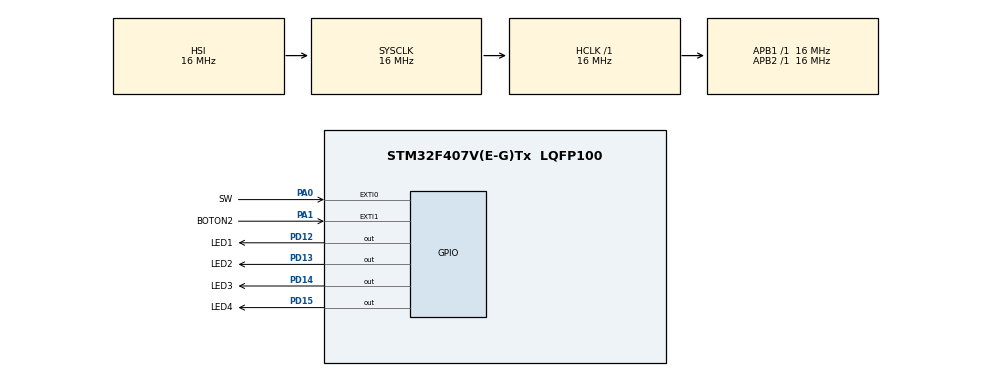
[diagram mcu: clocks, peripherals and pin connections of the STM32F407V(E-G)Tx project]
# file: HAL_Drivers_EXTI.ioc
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Mcu.Family=STM32F4
Mcu.Name=STM32F407V(E-G)Tx
Mcu.Package=LQFP100
NVIC.EXTI0_IRQn=true\:1\:0\:true\:false\:true\:true\:true\:true
NVIC.EXTI1_IRQn=true\:4\:0\:true\:false\:true\:true\:true\:true
NVIC.PriorityGroup=NVIC_PRIORITYGROUP_4
PA0-WKUP.GPIO_Label=SW
PA0-WKUP.Signal=GPXTI0
PA1.GPIO_Label=BOTON2
PA1.Signal=GPXTI1
PD12.GPIO_Label=LED1
PD12.Signal=GPIO_Output
PD13.GPIO_Label=LED2
PD13.Signal=GPIO_Output
PD14.GPIO_Label=LED3
PD14.Signal=GPIO_Output
PD15.GPIO_Label=LED4
PD15.Signal=GPIO_Output
ProjectManager.HeapSize=0x200
ProjectManager.StackSize=0x400
ProjectManager.TargetToolchain=STM32CubeIDE
RCC.AHBFreq_Value=16000000
RCC.APB1Freq_Value=16000000
RCC.APB2Freq_Value=16000000
RCC.CortexFreq_Value=16000000
RCC.HSE_VALUE=25000000
RCC.HSI_VALUE=16000000
RCC.LSE_VALUE=32768
RCC.SYSCLKFreq_VALUE=16000000
RCC.VCOOutputFreq_Value=192000000
board=custom

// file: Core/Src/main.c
/* USER CODE BEGIN Header */
/**
  ******************************************************************************
  * @file           : main.c
  * @brief          : Main program body
  ******************************************************************************
  * @attention
  *
  * Copyright (c) 2023 STMicroelectronics.
  * All rights reserved.
  *
  * This software is licensed under terms that can be found in the LICENSE file
  * in the root directory of this software component.
  * If no LICENSE file comes with this software, it is provided AS-IS.
  *
  ******************************************************************************
  */
/* USER CODE END Header */
#include "main.h"
#include "gpio.h"

/* USER CODE BEGIN Includes */
#include <stdio.h>
#include <stdarg.h>
#include <string.h>
/* USER CODE END Includes */

void SystemClock_Config(void);

/* USER CODE BEGIN 0 */
void ITM_SendValue (int port, uint32_t value)
{
    if (((ITM->TCR & ITM_TCR_ITMENA_Msk) != 0UL) &&      /* ITM enabled */
      ((ITM->TER & (1UL<<port)               ) != 0UL)   )     /* ITM Port #0 enabled */
    {
      while (ITM->PORT[port].u32 == 0UL)
      {
        __NOP();
      }
      ITM->PORT[port].u32 = value;
    }
}
void ITM_Printf(int port, char *format, ...){
  char str[80];
  char *ptr = str;

	/*Extract the the argument list using VA apis */
	va_list args;
	va_start(args, format);
	vsprintf(str, format,args);
  for(uint8_t i = 0; i < strlen(str); i++){
    // ITM_SendValue(1, (uint32_t)str[i]);
    ITM_SendValue(port, *ptr);
    ptr++;
  }
	va_end(args);
}
/* USER CODE END 0 */

int main(void)
{

  /* MCU Configuration--------------------------------------------------------*/

  /* Reset of all peripherals, Initializes the Flash interface and the Systick. */
  HAL_Init();

  /* Configure the system clock */
  SystemClock_Config();

  /* Initialize all configured peripherals */
  MX_GPIO_Init();

  /* Infinite loop */
  while (1)
  {

  }
}

void SystemClock_Config(void)
{
  RCC_OscInitTypeDef RCC_OscInitStruct = {0};
  RCC_ClkInitTypeDef RCC_ClkInitStruct = {0};

  /** Configure the main internal regulator output voltage
  */
  __HAL_RCC_PWR_CLK_ENABLE();
  __HAL_PWR_VOLTAGESCALING_CONFIG(PWR_REGULATOR_VOLTAGE_SCALE1);

  /** Initializes the RCC Oscillators according to the specified parameters
  * in the RCC_OscInitTypeDef structure.
  */
  RCC_OscInitStruct.OscillatorType = RCC_OSCILLATORTYPE_HSI;
  RCC_OscInitStruct.HSIState = RCC_HSI_ON;
  RCC_OscInitStruct.HSICalibrationValue = RCC_HSICALIBRATION_DEFAULT;
  RCC_OscInitStruct.PLL.PLLState = RCC_PLL_NONE;
  if (HAL_RCC_OscConfig(&RCC_OscInitStruct) != HAL_OK)
  {
    Error_Handler();
  }

  /** Initializes the CPU, AHB and APB buses clocks
  */
  RCC_ClkInitStruct.ClockType = RCC_CLOCKTYPE_HCLK|RCC_CLOCKTYPE_SYSCLK
                              |RCC_CLOCKTYPE_PCLK1|RCC_CLOCKTYPE_PCLK2;
  RCC_ClkInitStruct.SYSCLKSource = RCC_SYSCLKSOURCE_HSI;
  RCC_ClkInitStruct.AHBCLKDivider = RCC_SYSCLK_DIV1;
  RCC_ClkInitStruct.APB1CLKDivider = RCC_HCLK_DIV1;
  RCC_ClkInitStruct.APB2CLKDivider = RCC_HCLK_DIV1;

  if (HAL_RCC_ClockConfig(&RCC_ClkInitStruct, FLASH_LATENCY_0) != HAL_OK)
  {
    Error_Handler();
  }
}

/* USER CODE BEGIN 4 */
void HAL_GPIO_EXTI_Callback(uint16_t GPIO_Pin)
{
	if(GPIO_Pin == SW_Pin){
		//todo
		ITM_Printf(1, "MENSAJE DEL PUERTO 1\r\n");
		printf("PIN 0\r\n");
	}else if(BOTON2_Pin == GPIO_Pin){
		//todo
		printf("PIN 2\r\n");
	}
}

int __io_putchar(int ch){
	ITM_SendChar(ch);
	return ch;
}
/* USER CODE END 4 */

void Error_Handler(void)
{
  __disable_irq();
  while (1)
  {
  }
}
